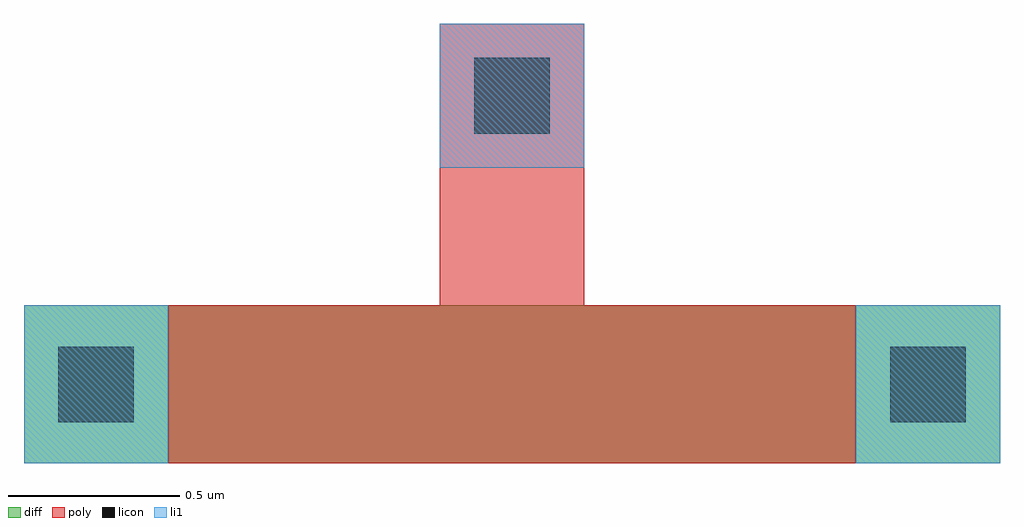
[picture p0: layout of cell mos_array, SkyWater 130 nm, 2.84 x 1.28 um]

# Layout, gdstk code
import gdstk
lib = gdstk.Library(unit=1e-6, precision=1e-09)
def R(c, l, rs):  # rectangles x0, y0, x1, y1
    for r in rs: c.add(gdstk.rectangle(r[:2], r[2:], *l))
diff = (65, 20)
poly = (66, 20)
licon = (66, 44)
li1 = (67, 20)

mos_array = lib.new_cell('mos_array')
R(mos_array, diff, [(0,0,2.84,0.46)])
R(mos_array, poly, [(0.42,0,2.42,0.46), (1.21,0.46,1.63,1.28)])
R(mos_array, licon, [(0.1,0.12,0.32,0.34), (2.52,0.12,2.74,0.34), (1.31,0.96,1.53,1.18)])
R(mos_array, li1, [(0,0,0.42,0.46), (2.42,0,2.84,0.46), (1.21,0.86,1.63,1.28)])

lib.write_gds('mos_array.gds')
